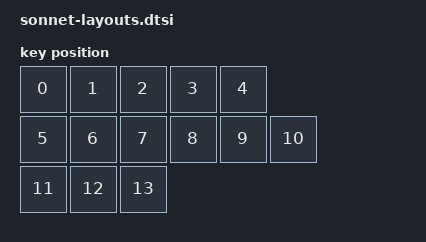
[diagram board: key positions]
// Sonnet 键盘物理布局
// 14个按键 + EC11编码器
// 实际物理布局:
//         ┌────┬────┬────┬────┬────┐
// 第1行:  │ S1 │ S2 │ S3 │ S4 │ S5 │  5键
//         ├────┼────┼────┼────┼────┼────┐
// 第2行:  │ S6 │ S7 │ S8 │ S9 │S10 │S11 │  6键
//         ├────┼────┼────┤         │
// 第3行:  │S12 │S13 │S14 │  编码器  │  3键 + 编码器
//         └────┴────┴────┴──────────┘

#include <physical_layouts.dtsi>

/ {
    default_layout: default_layout {
        compatible = "zmk,physical-layout";
        display-name = "Default Layout";
        transform = <&default_transform>;
        kscan = <&kscan0>;

        // 按键物理属性: w(宽) h(高) x(横坐标) y(纵坐标) rot(旋转) rx ry(旋转中心)
        // 每个按键 100x100 单位，列间距100，行间距100
        keys  //                     w   h    x    y     rot    rx    ry
            // 第1行 (5键)
            = <&key_physical_attrs 100 100    0    0       0     0     0>
            , <&key_physical_attrs 100 100  100    0       0   100     0>
            , <&key_physical_attrs 100 100  200    0       0   200     0>
            , <&key_physical_attrs 100 100  300    0       0   300     0>
            , <&key_physical_attrs 100 100  400    0       0   400     0>
            // 第2行 (6键)
            , <&key_physical_attrs 100 100    0  100       0     0   100>
            , <&key_physical_attrs 100 100  100  100       0   100   100>
            , <&key_physical_attrs 100 100  200  100       0   200   100>
            , <&key_physical_attrs 100 100  300  100       0   300   100>
            , <&key_physical_attrs 100 100  400  100       0   400   100>
            , <&key_physical_attrs 100 100  500  100       0   500   100>
            // 第3行 (3键)
            , <&key_physical_attrs 100 100    0  200       0     0   200>
            , <&key_physical_attrs 100 100  100  200       0   100   200>
            , <&key_physical_attrs 100 100  200  200       0   200   200>
            ;
    };
};
